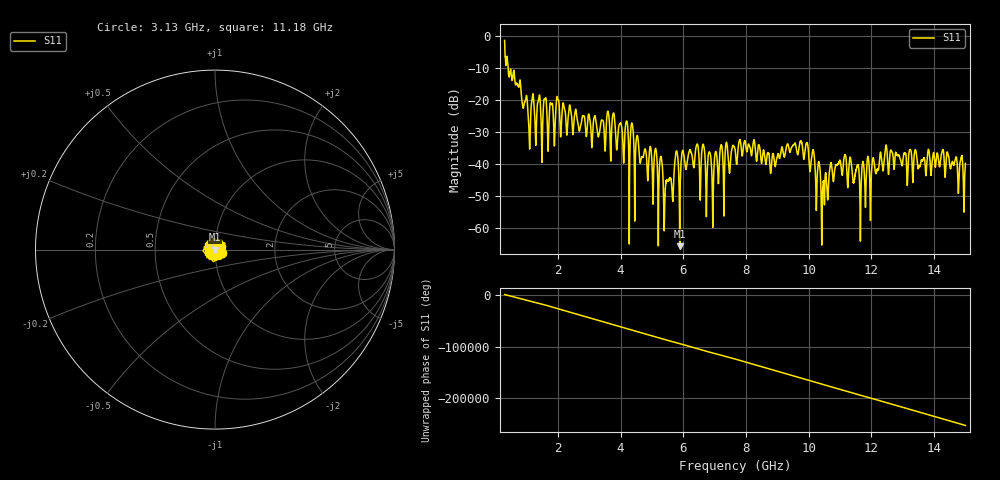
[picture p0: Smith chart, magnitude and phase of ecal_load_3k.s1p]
# GHZ S RI R 50.0
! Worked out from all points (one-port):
!   12801 points, 300 MHz to 15 GHz, reference 50 ohm
!   lowest |S11| = -65.8 dB at 5.886 GHz (marker M1), VSWR 1.00, Z = 50 - j0.0114 ohm
!   |S11| at or under -10 dB: 412.6 MHz to end of sweep
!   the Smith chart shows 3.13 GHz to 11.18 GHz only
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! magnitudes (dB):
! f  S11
! 300 MHz  -1.3
! 1.086 GHz  -31.9
! 1.197 GHz  -18.1
! 1.298 GHz  -33.9
! 2.138 GHz  -23.4
! 3.975 GHz  -27.4
! 5.295 GHz  -37.8
! 5.427 GHz  -47.8
! 5.812 GHz  -36.8
! 5.886 GHz  -65.8
! 5.988 GHz  -35.8
! 6.433 GHz  -34.0
! 6.746 GHz  -50.2
! 6.841 GHz  -36.4
! 6.937 GHz  -55.9
! 7.206 GHz  -34.1
! 7.65 GHz  -35.3
! 8.833 GHz  -38.2
! 9.488 GHz  -34.3
! 10.14 GHz  -35.5
! 10.45 GHz  -47.4
! 10.71 GHz  -39.7
! 11.32 GHz  -38.0
! 11.63 GHz  -49.4
! 12.46 GHz  -34.6
! 13.16 GHz  -42.8
! 14.26 GHz  -36.0
! 15 GHz  -39.8
